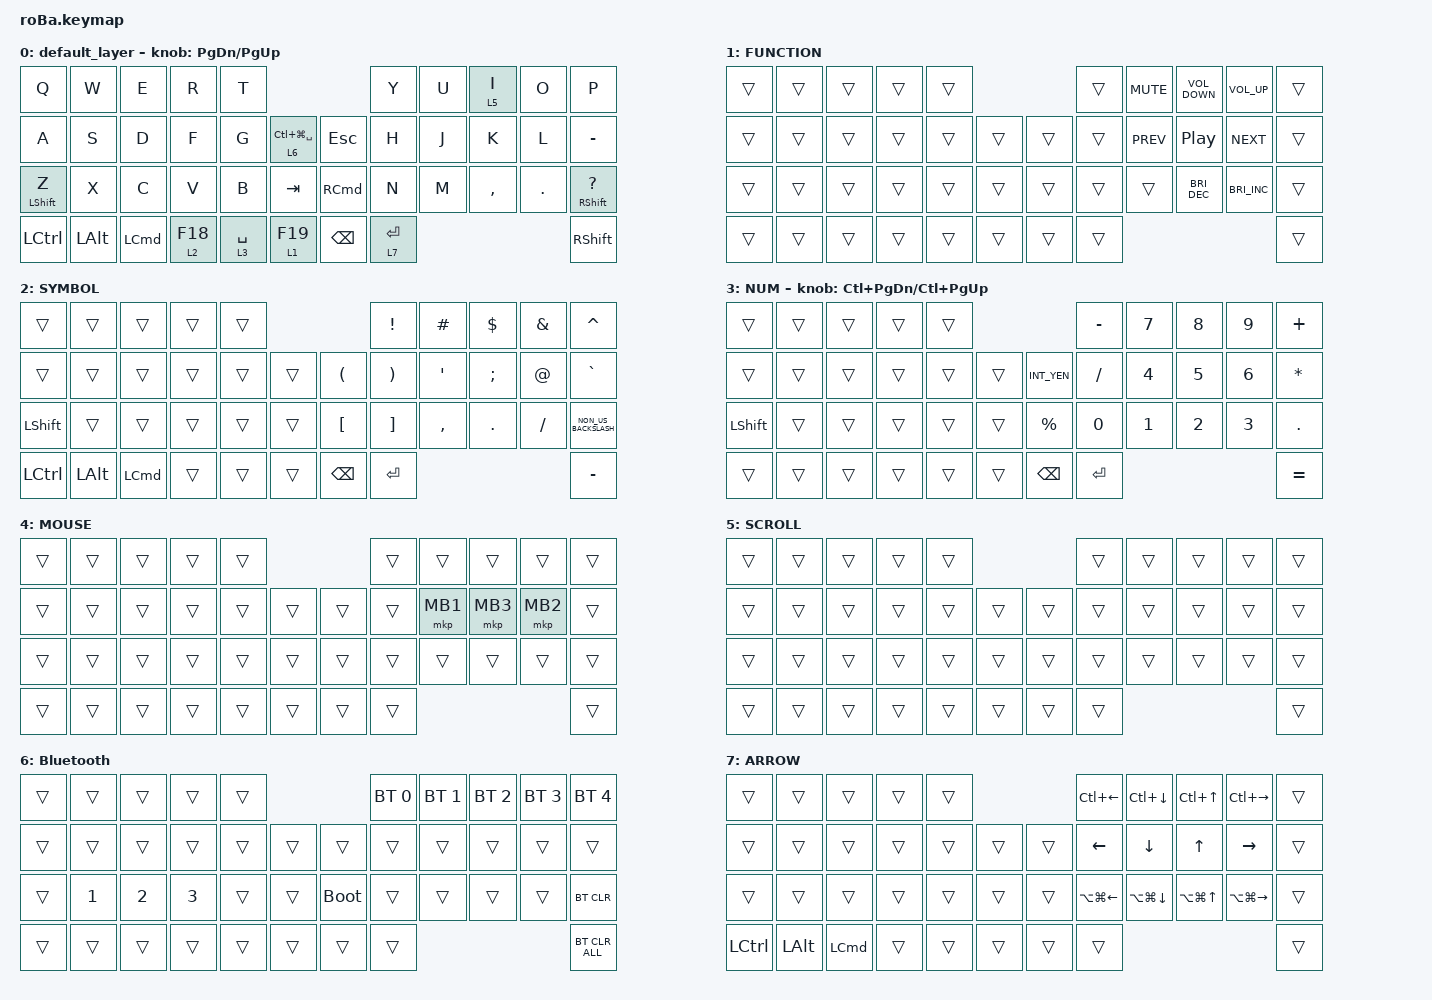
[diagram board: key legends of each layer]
#include <behaviors.dtsi>
#include <dt-bindings/zmk/bt.h>
#include <dt-bindings/zmk/keys.h>
#include <dt-bindings/zmk/pointing.h>

#define MOUSE 4
#define SCROLL 5
#define NUM 6

&mt {
    flavor = "balanced";
    quick-tap-ms = <0>;
};

/ {
    combos {
        compatible = "zmk,combos";

        tab {
            bindings = <&kp TAB>;
            key-positions = <11 12>;
        };

        shift_tab {
            bindings = <&kp LS(TAB)>;
            key-positions = <12 13>;
        };

        muhennkann {
            bindings = <&to_layer_0 INT_MUHENKAN>;
            key-positions = <11 10>;
        };

        double_quotation {
            bindings = <&kp DOUBLE_QUOTES>;
            key-positions = <20 21>;
        };

        eq {
            bindings = <&kp EQUAL>;
            key-positions = <24 25>;
        };
    };

    macros {
        to_layer_0: to_layer_0 {
            compatible = "zmk,behavior-macro-one-param";
            #binding-cells = <1>;
            bindings = <&to 0 &macro_param_1to1 &kp MACRO_PLACEHOLDER>;
            label = "TO_LAYER_0";
        };
    };

    behaviors {
        lt_to_layer_0: lt_to_layer_0 {
            compatible = "zmk,behavior-hold-tap";
            label = "LAYER_TAP_TO_0";
            bindings = <&mo>, <&to_layer_0>;

            #binding-cells = <2>;
            tapping-term-ms = <200>;
        };
    };

    keymap {
        compatible = "zmk,keymap";

        default_layer {
            bindings = <
&kp Q             &kp W         &kp E             &kp R                 &kp T                                                     &kp Y        &kp U  &lt 5 I    &kp O       &kp P
&kp A             &kp S         &kp D             &kp F                 &kp G        &lt 6 LC(LG(SPACE))       &kp ESC            &kp H        &kp J  &kp K      &kp L       &kp MINUS
&mt LEFT_SHIFT Z  &kp X         &kp C             &kp V                 &kp B        &kp TAB                   &kp RIGHT_COMMAND  &kp N        &kp M  &kp COMMA  &kp PERIOD  &mt RIGHT_SHIFT QMARK
&kp LEFT_CONTROL  &kp LEFT_ALT  &kp LEFT_COMMAND  &lt_to_layer_0 2 F18  &lt 3 SPACE  &lt_to_layer_0 1 F19      &kp BACKSPACE      &lt 7 ENTER                                &kp RIGHT_SHIFT
            >;

            sensor-bindings = <&inc_dec_kp PAGE_DOWN PAGE_UP>;
        };

        FUNCTION {
            bindings = <
&trans  &trans  &trans  &trans  &trans                      &trans  &kp C_MUTE  &kp C_VOLUME_DOWN     &kp C_VOLUME_UP       &trans
&trans  &trans  &trans  &trans  &trans  &trans      &trans  &trans  &kp C_PREV  &kp C_PLAY_PAUSE      &kp C_NEXT            &trans
&trans  &trans  &trans  &trans  &trans  &trans      &trans  &trans  &trans      &kp C_BRIGHTNESS_DEC  &kp C_BRIGHTNESS_INC  &trans
&trans  &trans  &trans  &trans  &trans  &trans      &trans  &trans                                                          &trans
            >;
        };

        SYMBOL {
            bindings = <
&trans            &trans        &trans            &trans  &trans                                    &kp EXCLAMATION        &kp HASH   &kp DOLLAR     &kp AMPERSAND  &kp CARET
&trans            &trans        &trans            &trans  &trans  &trans      &kp LEFT_PARENTHESIS  &kp RIGHT_PARENTHESIS  &kp SQT    &kp SEMICOLON  &kp AT_SIGN    &kp GRAVE
&kp LEFT_SHIFT    &trans        &trans            &trans  &trans  &trans      &kp LEFT_BRACKET      &kp RIGHT_BRACKET      &kp COMMA  &kp PERIOD     &kp SLASH      &kp NON_US_BACKSLASH
&kp LEFT_CONTROL  &kp LEFT_ALT  &kp LEFT_COMMAND  &trans  &trans  &trans      &kp BACKSPACE         &kp ENTER                                                       &kp MINUS
            >;
        };

        NUM {
            bindings = <
&trans          &trans  &trans  &trans  &trans                             &kp MINUS     &kp NUMBER_7  &kp NUMBER_8  &kp NUMBER_9  &kp PLUS
&trans          &trans  &trans  &trans  &trans  &trans      &kp INT_YEN    &kp SLASH     &kp NUMBER_4  &kp NUMBER_5  &kp NUMBER_6  &kp ASTERISK
&kp LEFT_SHIFT  &trans  &trans  &trans  &trans  &trans      &kp PERCENT    &kp NUMBER_0  &kp NUMBER_1  &kp NUMBER_2  &kp NUMBER_3  &kp PERIOD
&trans          &trans  &trans  &trans  &trans  &trans      &kp BACKSPACE  &kp ENTER                                               &kp EQUAL
            >;

            sensor-bindings = <&inc_dec_kp LC(PAGE_DOWN) LC(PAGE_UP)>;
        };

        MOUSE {
            bindings = <
&trans  &trans  &trans  &trans  &trans                      &trans  &trans    &trans    &trans    &trans
&trans  &trans  &trans  &trans  &trans  &trans      &trans  &trans  &mkp MB1  &mkp MB3  &mkp MB2  &trans
&trans  &trans  &trans  &trans  &trans  &trans      &trans  &trans  &trans    &trans    &trans    &trans
&trans  &trans  &trans  &trans  &trans  &trans      &trans  &trans                                &trans
            >;
        };

        SCROLL {
            bindings = <
&trans  &trans  &trans  &trans  &trans                      &trans  &trans  &trans  &trans  &trans
&trans  &trans  &trans  &trans  &trans  &trans      &trans  &trans  &trans  &trans  &trans  &trans
&trans  &trans  &trans  &trans  &trans  &trans      &trans  &trans  &trans  &trans  &trans  &trans
&trans  &trans  &trans  &trans  &trans  &trans      &trans  &trans                          &trans
            >;
        };

        Bluetooth {
            bindings = <
&trans  &trans        &trans        &trans        &trans                           &bt BT_SEL 0  &bt BT_SEL 1  &bt BT_SEL 2  &bt BT_SEL 3  &bt BT_SEL 4
&trans  &trans        &trans        &trans        &trans  &trans      &trans       &trans        &trans        &trans        &trans        &trans
&trans  &kp NUMBER_1  &kp NUMBER_2  &kp NUMBER_3  &trans  &trans      &bootloader  &trans        &trans        &trans        &trans        &bt BT_CLR
&trans  &trans        &trans        &trans        &trans  &trans      &trans       &trans                                                  &bt BT_CLR_ALL
            >;
        };

        ARROW {
            bindings = <
&trans            &trans        &trans            &trans  &trans                      &kp LC(LEFT)      &kp LC(DOWN_ARROW)  &kp LC(UP_ARROW)      &kp LC(RIGHT)      &trans
&trans            &trans        &trans            &trans  &trans  &trans      &trans  &kp LEFT_ARROW    &kp DOWN_ARROW      &kp UP_ARROW          &kp RIGHT_ARROW    &trans
&trans            &trans        &trans            &trans  &trans  &trans      &trans  &kp LA(LG(LEFT))  &kp LA(LG(DOWN))    &kp LA(LG(UP_ARROW))  &kp LA(LG(RIGHT))  &trans
&kp LEFT_CONTROL  &kp LEFT_ALT  &kp LEFT_COMMAND  &trans  &trans  &trans      &trans  &trans                                                                         &trans
            >;
        };
    };
};
